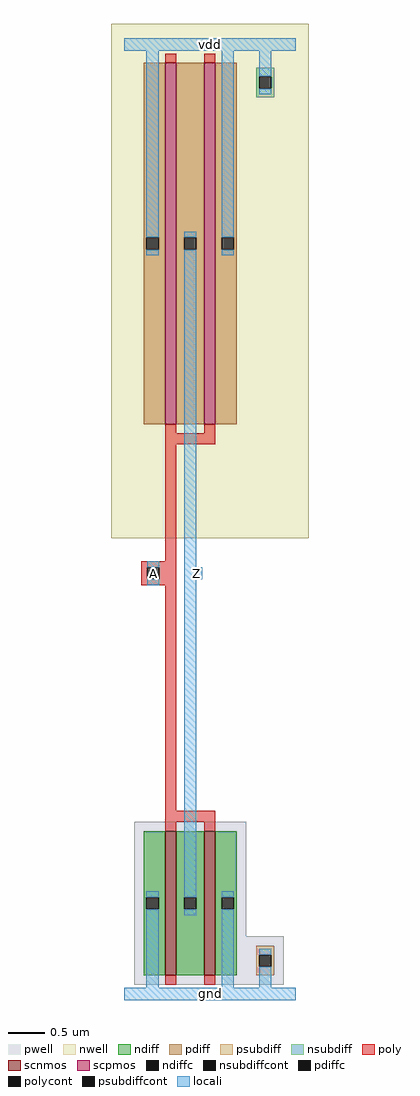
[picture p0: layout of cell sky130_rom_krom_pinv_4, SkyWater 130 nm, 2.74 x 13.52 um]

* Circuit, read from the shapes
.subckt sky130_rom_krom_pinv_4 A Z gnd vdd
XM1 Z A gnd gnd sky130_fd_pr__nfet_01v8 w=2 l=0.15 m=2
XM2 Z A vdd vdd sky130_fd_pr__pfet_01v8 w=5 l=0.15 m=2
.ends

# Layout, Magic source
magic
tech sky130A
magscale 1 2
<< nwell >>
rect -36 1262 512 2686
<< pwell >>
rect 28 159 338 477
rect 28 25 442 159
<< scnmos >>
rect 114 51 144 451
rect 222 51 252 451
<< scpmos >>
rect 114 1578 144 2578
rect 222 1578 252 2578
<< ndiff >>
rect 54 268 114 451
rect 54 234 62 268
rect 96 234 114 268
rect 54 51 114 234
rect 144 268 222 451
rect 144 234 166 268
rect 200 234 222 268
rect 144 51 222 234
rect 252 268 312 451
rect 252 234 270 268
rect 304 234 312 268
rect 252 51 312 234
<< pdiff >>
rect 54 2095 114 2578
rect 54 2061 62 2095
rect 96 2061 114 2095
rect 54 1578 114 2061
rect 144 2095 222 2578
rect 144 2061 166 2095
rect 200 2061 222 2095
rect 144 1578 222 2061
rect 252 2095 312 2578
rect 252 2061 270 2095
rect 304 2061 312 2095
rect 252 1578 312 2061
<< ndiffc >>
rect 62 234 96 268
rect 166 234 200 268
rect 270 234 304 268
<< pdiffc >>
rect 62 2061 96 2095
rect 166 2061 200 2095
rect 270 2061 304 2095
<< psubdiff >>
rect 366 109 416 133
rect 366 75 374 109
rect 408 75 416 109
rect 366 51 416 75
<< nsubdiff >>
rect 366 2541 416 2565
rect 366 2507 374 2541
rect 408 2507 416 2541
rect 366 2483 416 2507
<< psubdiffcont >>
rect 374 75 408 109
<< nsubdiffcont >>
rect 374 2507 408 2541
<< poly >>
rect 114 2578 144 2604
rect 222 2578 252 2604
rect 114 1552 144 1578
rect 222 1552 252 1578
rect 114 1522 252 1552
rect 114 1198 144 1522
rect 48 1182 144 1198
rect 48 1148 64 1182
rect 98 1148 144 1182
rect 48 1132 144 1148
rect 114 507 144 1132
rect 114 477 252 507
rect 114 451 144 477
rect 222 451 252 477
rect 114 25 144 51
rect 222 25 252 51
<< polycont >>
rect 64 1148 98 1182
<< locali >>
rect 0 2612 476 2646
rect 62 2095 96 2612
rect 62 2045 96 2061
rect 166 2095 200 2111
rect 64 1182 98 1198
rect 64 1132 98 1148
rect 166 1182 200 2061
rect 270 2095 304 2612
rect 374 2541 408 2612
rect 374 2491 408 2507
rect 270 2045 304 2061
rect 166 1148 217 1182
rect 62 268 96 284
rect 62 17 96 234
rect 166 268 200 1148
rect 166 218 200 234
rect 270 268 304 284
rect 270 17 304 234
rect 374 109 408 125
rect 374 17 408 75
rect 0 -17 476 17
<< labels >>
rlabel locali s 81 1165 81 1165 4 A
port 1 nsew
rlabel locali s 200 1165 200 1165 4 Z
port 2 nsew
rlabel locali s 238 0 238 0 4 gnd
port 3 nsew
rlabel locali s 238 2629 238 2629 4 vdd
port 4 nsew
<< properties >>
string FIXED_BBOX 0 0 476 1994
<< end >>
